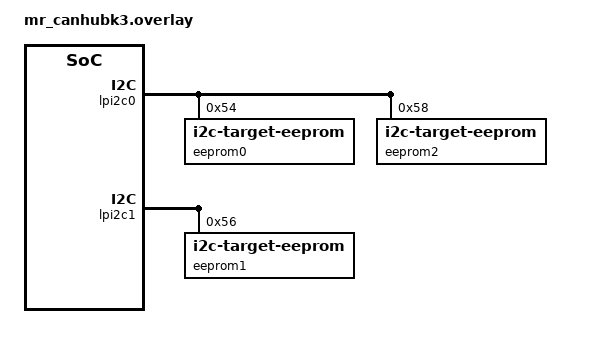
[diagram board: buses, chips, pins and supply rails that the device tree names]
/*
 * Copyright 2023 NXP
 *
 * SPDX-License-Identifier: Apache-2.0
 */

/* Connect P3.2 <-> P4.3 and P3.3 <-> P4.4 */

&lpi2c0 {
	status = "okay";
	eeprom0: eeprom@54 {
		compatible = "zephyr,i2c-target-eeprom";
		reg = <0x54>;
		size = <256>;
	};
	eeprom2: eeprom@58 {
		compatible = "zephyr,i2c-target-eeprom";
		reg = <0x58>;
		size = <4096>;
		address-width = <16>;
		read-only;
	};
};

&lpi2c1 {
	status = "okay";
	eeprom1: eeprom@56 {
		compatible = "zephyr,i2c-target-eeprom";
		reg = <0x56>;
		size = <256>;
	};
};
